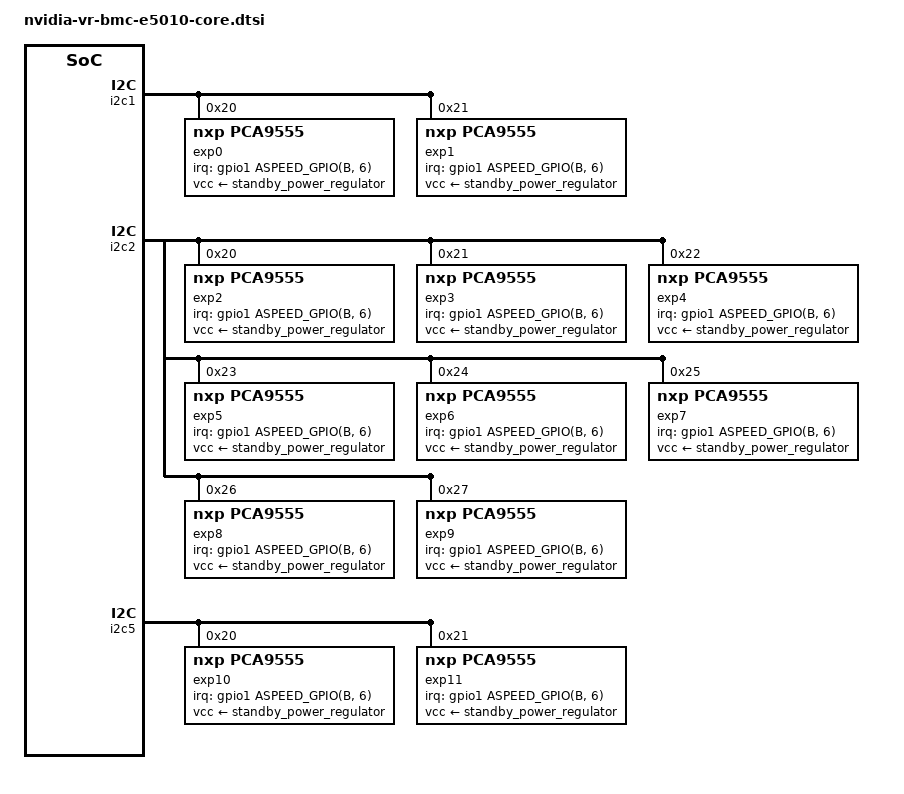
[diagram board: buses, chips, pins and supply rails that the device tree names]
// SPDX-License-Identifier: GPL-2.0+
/dts-v1/;

#include "aspeed-g6.dtsi"
#include <dt-bindings/gpio/aspeed-gpio.h>

&gpio0 {
    gpio-line-names =

    /* gpio-line-names are the combination of <signal>-<I/O> , "" is the placeholder for the unused pins*/

    /* 208 (26*8) 3.3V GPIOs */

    /*A0-A7*/
    "", "", "", "", "", "", "", "",

    /*B0-B7*/
    "", "", "", "", "", "", "", "",

    /*C0-C7*/
    "SGPIO_I2C_MUX_SEL-O",
    "", "", "", "", "", "", "",

    /*D0-D7*/
    "", "", "",
    "UART1_MUX_SEL-O",
    "",
    "FPGA_PEX_RST_L-O",
    "", "",

    /*E0-E7*/
    "RTL8221_PHY_RST_L-O",
    "RTL8211_PHY_INT_L-I",
    "",
    "UART3_MUX_SEL-O",
    "", "", "",
    "SGPIO_BMC_EN-O",

    /*F0-F7*/
    "", "", "", "", "", "", "", "",

    /*G0-G7*/
    "", "", "", "", "", "", "", "",

    /*H0-H7*/
    "", "", "", "", "", "", "", "",

    /*I0-I7*/
    "", "", "", "", "",
    "QSPI2_RST_L-O",
    "GLOBAL_WP_BMC-O",
    "BMC_DDR4_TEN-O",

    /*J0-J7*/
    "", "", "", "", "", "", "", "",

    /*K0-K7*/
    "", "", "", "", "", "", "", "",

    /*L0-L7*/
    "", "", "", "", "", "", "", "",

    /*M0-M7*/
    "PCIE_EP_RST_EN-O",
    "BMC_FRU_WP-O",
    "HMC_RESET_L-O",
    "STBY_POWER_EN-O",
    "STBY_POWER_PG-I",
    "PCIE_EP_RST_L-O",
    "", "",

    /*N0-N7*/
    "", "", "", "", "", "", "", "",

    /*O0-O7*/
    "", "", "", "", "", "", "", "",

    /*P0-P7*/
    "", "", "", "", "", "", "", "",

    /*Q0-Q7*/
    "", "", "", "", "", "", "", "",

    /*R0-R7*/
    "", "", "", "", "", "", "", "",

    /*S0-S7*/
    "", "", "", "", "", "", "", "",

    /*T0-T7*/
    "", "", "", "", "", "", "", "",

    /*U0-U7*/
    "", "", "", "", "", "", "", "",

    /*V0-V7*/
    "AP_EROT_REQ-O",
    "EROT_AP_GNT-I",
    "",
    "",
    "PCB_TEMP_ALERT-I",
    "", "", "",

    /*W0-W7*/
    "", "", "", "", "", "", "",
    "CPU_RST_L-I",

    /*X0-X7*/
    "", "",
    "TPM_MUX_SEL-O",
    "", "", "", "", "",

    /*Y0-Y7*/
    "", "", "",
    "EMMC_RST-O",
    "","", "", "",

    /*Z0-Z7*/
    "","", "", "", "", "", "", "";
};

&gpio1 {
    /* 36 1.8V GPIOs */
    gpio-line-names =
    /*A0-A7*/
    "", "", "", "", "", "", "", "",

    /*B0-B7*/
    "", "", "", "",
    "AP_EROT_REQ-O",
    "EROT_AP_GNT-I",
    "IO_EXPANDER_INT_L-I",
    "",

    /*C0-C7*/
    "", "", "", "", "", "", "", "",

    /*D0-D7*/
    "", "", "", "", "", "", "",
    "I2C_SSIF_ALERT_L-I",

    /*E0-E7*/
    "", "", "", "", "", "", "", "";
};

// I2C2 GPIO Expander
&i2c1 {
    // MGMT1 BOARD0, Expander @0x20
    exp0: pca9555@20 {
        compatible = "nxp,pca9555";
        reg = <0x20>;
        gpio-controller;
        #gpio-cells = <2>;

        #address-cells = <1>;
        #size-cells = <0>;
        interrupt-controller;
        #interrupt-cells = <2>;
        interrupt-parent = <&gpio1>;
        interrupts = <ASPEED_GPIO(B, 6) IRQ_TYPE_LEVEL_LOW>;
        vcc-supply = <&standby_power_regulator>;

        gpio-line-names =
            "B0_M1_MCU_RESET_L-O",
            "B0_M1_MCU_RECOVERY_L-O",
            "B0_M1_TPM_HDR_SPI_PRSNT_IOX_N-I",
            "B0_M1_U146_P0_3",
            "B0_M1_IOX_THERM_OVERT_L-I",
            "B0_M1_IOX_THERM_WARN_L-I",
            "B0_M1_HMC_IST_PRE_RST_L-O",
            "B0_M1_CPLD_READY-I",
            "B0_M1_MODULE_PWR_GOOD-I",
            "B0_M1_MCU_HMC_ALERT_L-I",
            "B0_M1_USB_HMC_HUB_RST_L-O",
            "B0_M1_HPM_MCU_OK-I",
            "B0_M1_CPU0_SHDN_OK_L-I",
            "B0_M1_IST_COMPLETE_L-I",
            "B0_M1_IST_SYS_RST_L-O",
            "B0_M1_PWR_BRAKE_STATUS_R_L-I";
    };

    // MGMT1 BOARD0, Expander @0x21
    exp1: pca9555@21 {
        compatible = "nxp,pca9555";
        reg = <0x21>;
        gpio-controller;
        #gpio-cells = <2>;

        #address-cells = <1>;
        #size-cells = <0>;
        interrupt-controller;
        #interrupt-cells = <2>;
        interrupt-parent = <&gpio1>;
        interrupts = <ASPEED_GPIO(B, 6) IRQ_TYPE_LEVEL_LOW>;
        vcc-supply = <&standby_power_regulator>;

        gpio-line-names =
            "B0_M1_CPU_FORCED_RECOVERY_L-B",
            "B0_M1_CPU_BOOT_DEV_SEL0-B",
            "B0_M1_CPU_BOOT_DEV_SEL1-B",
            "B0_M1_CPU_BOOT_DEV_SEL2-B",
            "B0_M1_U133_P0_4",
            "B0_M1_CPU_RECOVERY_TYPE0-B",
            "B0_M1_CPU_RECOVERY_TYPE1-B",
            "B0_M1_CPU_IST_BOOT-B",
            "B0_M1_CPU_BOOT_CHAIN0-B",
            "B0_M1_GP32_PACKAGE_R_ID0-B",
            "B0_M1_GP33_PACKAGE_R_ID1-B",
            "B0_M1_DIE_SEL0-B",
            "B0_M1_DIE_SEL1-B",
            "B0_M1_DIE_SEL2-B",
            "B0_M1_CPU_BOOT_COMPLETE-B",
            "B0_M1_NVJTAG_SEL_S-B";
    };
};


// I2C3 GPIO Expander
&i2c2 {
    // MGMT0 BOARD0, Expander @0x20
    exp2: pca9555@20 {
        compatible = "nxp,pca9555";
        reg = <0x20>;
        gpio-controller;
        #gpio-cells = <2>;

        #address-cells = <1>;
        #size-cells = <0>;
        interrupt-controller;
        #interrupt-cells = <2>;
        interrupt-parent = <&gpio1>;
        interrupts = <ASPEED_GPIO(B, 6) IRQ_TYPE_LEVEL_LOW>;
        vcc-supply = <&standby_power_regulator>;
        gpio-line-names =
            "B0_M0_I2C_MCIO_MUX_RESET_L-O",
            "B0_M0_HPM_MCU_OK-I",
            "B0_M0_SNN_RSVD_AIC_USB_EN-O",
            "B0_M0_C0_SOCAMM_DAC_I2C_SEL-O",
            "B0_M0_SNN_C1_SOCAMM_DAC_I2C_SEL-O",
            "B0_M0_C0_SOCAMM_I2C_SEL-O",
            "B0_M0_SNN_C1_SOCAMM_I2C_SEL-O",
            "B0_M0_EEPROM_POWER_DISABLE-O",
            "B0_M0_L0L1_RST_OUT_IOX_L-B",
            "B0_M0_L2_RST_OUT_IOX_L-B",
            "B0_M0_BRD_ID_0-I",
            "B0_M0_BRD_ID_1-I",
            "B0_M0_LEAK_DETECT_L-O",
            "B0_M0_BMC_SSIF_ALERT_L-I",
            "B0_M0_CPU_BOOT_COMPLETE_3V3-I",
            "B0_M0_BRD_ID_2-I";
    };

    // MGMT0 BOARD0, Expander @0x21
    exp3: pca9555@21 {
        compatible = "nxp,pca9555";
        reg = <0x21>;
        gpio-controller;
        #gpio-cells = <2>;

        #address-cells = <1>;
        #size-cells = <0>;
        interrupt-controller;
        #interrupt-cells = <2>;
        interrupt-parent = <&gpio1>;
        interrupts = <ASPEED_GPIO(B, 6) IRQ_TYPE_LEVEL_LOW>;
        vcc-supply = <&standby_power_regulator>;
        gpio-line-names =
            "B0_M0_BMC_SHDN_FORCE_L-O",
            "B0_M0_STBY_POWER_PG-I",
            "B0_M0_IOX_THERM_OVERT_L-I",
            "B0_M0_IOX_THERM_WARN_L-I",
            "B0_M0_GLOBAL_WP_IOX_MCU-O",
            "B0_M0_USB_HUB0_RST_L-O",
            "B0_M0_IOX_PRE_SYS_RST_L-O",
            "B0_M0_LEAK_DETECT_ALERT_L-I",
            "B0_M0_RUN_PWR_EN-O",
            "B0_M0_MODULE_PWR_GOOD-I",
            "B0_M0_MCU_CPU0_CHIPTHROT_L-O",
            "B0_M0_GP01_SHDN_REQ_L-O",
            "B0_M0_CPU0_SHDN_OK_L_3V3-I",
            "B0_M0_U153_P1_5-O",
            "B0_M0_PWR_BRAKE_IOX_L-O",
            "B0_M0_PWR_BRAKE_STATUS_U153_L-I";
    };

    // extra IOX for E5010
    exp4: pca9555@22 {
        compatible = "nxp,pca9555";
        reg = <0x22>;
        gpio-controller;
        #gpio-cells = <2>;

        #address-cells = <1>;
        #size-cells = <0>;
        interrupt-controller;
        #interrupt-cells = <2>;
        interrupt-parent = <&gpio1>;
        interrupts = <ASPEED_GPIO(B, 6) IRQ_TYPE_LEVEL_LOW>;
        vcc-supply = <&standby_power_regulator>;
        gpio-line-names =
            "B0_M0_UART0_MUX_SEL0-O",
            "B0_M0_UART0_MUX_SEL1-O",
            "B0_M0_UART1_MUX_SEL0-O",
            "B0_M0_UART1_MUX_SEL1-O",
            "B0_M0_QSPI_LB_EN-O",
            "B0_M0_QSPI_LB_MUX_SEL-O",
            "B0_M0_QSPI0_MUX_EN-O",
            "B0_M0_U25_P0_7",
            "B0_M0_I2C1_3_MUX_SEL-O",
            "B0_M0_I2C2_4_MUX_SEL-O",
            "B0_M0_IXC0_MUX_SEL0-O",
            "B0_M0_IXC0_MUX_SEL1-O",
            "B0_M0_I2C_PU_MUX1_SEL0-O",
            "B0_M0_I2C_PU_MUX1_SEL1-O",
            "B0_M0_I2C_PU_MUX2_SEL0-O",
            "B0_M0_I2C_PU_MUX2_SEL1-O";
    };

    exp5: pca9555@23 {
        compatible = "nxp,pca9555";
        reg = <0x23>;
        gpio-controller;
        #gpio-cells = <2>;

        #address-cells = <1>;
        #size-cells = <0>;
        interrupt-controller;
        #interrupt-cells = <2>;
        interrupt-parent = <&gpio1>;
        interrupts = <ASPEED_GPIO(B, 6) IRQ_TYPE_LEVEL_LOW>;
        vcc-supply = <&standby_power_regulator>;  
        gpio-line-names =
            "B0_M0_I2C1_MUX2_SEL0-O",
            "B0_M0_I2C1_MUX2_SEL1-O",
            "B0_M0_USB_MGMT0_MUX_SEL0-O",
            "B0_M0_MCU_CPU_CLOCK_EN-O",
            "B0_M0_QSPI1_MUX_EN-O",
            "B0_M0_QSPI1_MUX1_SEL-O",
            "B0_M0_USB2_P1_MUX_SEL-O",
            "B0_M0_USB_MGMT0_MUX_SEL1-O",
            "B0_M0_UPHY2_REFCLK_MUX_SEL-O",
            "B0_M0_UPHY0_REFCLK_MUX_SEL-O",
            "B0_M0_TPM_HDR_SPI_PRSNT_IOX_N-O",
            "B0_M0_UPHY3_REFCLK_MUX_SEL-O",
            "B0_M0_RTC_CLR_IOX_L-O",
            "B0_M0_HPM_SCM_INTRUSION_N-O",
            "B0_M0_SPI_HOST_TPM_RST_L-O",
            "B0_M0_MCIO012_VPP_MUX_SEL-O";
    };

    exp6: pca9555@24 {
        compatible = "nxp,pca9555";
        reg = <0x24>;
        gpio-controller;
        #gpio-cells = <2>;

        #address-cells = <1>;
        #size-cells = <0>;
        interrupt-controller;
        #interrupt-cells = <2>;
        interrupt-parent = <&gpio1>;
        interrupts = <ASPEED_GPIO(B, 6) IRQ_TYPE_LEVEL_LOW>;
        vcc-supply = <&standby_power_regulator>;
        gpio-line-names =
            "B0_M0_I3C0_MUX_SEL0-O",
            "B0_M0_I3C0_MUX_SEL1-O",
            "B0_M0_SNN_IOX2_P3",
            "B0_M0_I2C_PU_MUX3_SEL0-O",
            "B0_M0_I2C_PU_MUX3_SEL1-O",
            "B0_M0_I2C_PU_MUX4_SEL0-O",
            "B0_M0_I2C_PU_MUX4_SEL1-O",
            "B0_M0_PWR_I2C_MUX_SEL-O",
            "B0_M0_M1_I3C1_MUX_SEL0-O",
            "B0_M0_M1_I3C1_MUX_SEL1-O",
            "B0_M0_M2_I3C0_MUX_SEL0-O",
            "B0_M0_M2_I3C0_MUX_SEL1-O",
            "B0_M0_M3_I3C1_MUX_SEL0-O",
            "B0_M0_M3_I3C1_MUX_SEL1-O",
            "B0_M0_SNN_IOX2_P16",
            "B0_M0_U31_P1_7";
    };

    exp7: pca9555@25 {
        compatible = "nxp,pca9555";
        reg = <0x25>;
        gpio-controller;
        #gpio-cells = <2>;

        #address-cells = <1>;
        #size-cells = <0>;
        interrupt-controller;
        #interrupt-cells = <2>;
        interrupt-parent = <&gpio1>;
        interrupts = <ASPEED_GPIO(B, 6) IRQ_TYPE_LEVEL_LOW>;
        vcc-supply = <&standby_power_regulator>;
        gpio-line-names =
            "B0_M0_UPHY0_MCIO0_PERST1_IOX_L-O",
            "B0_M0_UPHY0_MCIO0_PERST_IOX_L-O",
            "B0_M0_UPHY0_MCIO0_PRSNT1_L-I",
            "B0_M0_UPHY0_MCIO1_PERST1_IOX_L-O",
            "B0_M0_UPHY0_MCIO1_PERST_IOX_L-O",
            "B0_M0_UPHY0_MCIO1_PRSNT1_L-I",
            "B0_M0_UPHY0_MCIO2_PERST1_IOX_L-O",
            "B0_M0_UPHY0_MCIO2_PERST_IOX_L-O",
            "B0_M0_UPHY0_MCIO2_PRSNT1_L-I",
            "B0_M0_UPHY0_MCIO3_PERST1_IOX_L-O",
            "B0_M0_UPHY0_MCIO3_PERST_IOX_L-O",
            "B0_M0_UPHY0_MCIO3_PRSNT1_L-I",
            "B0_M0_UPHY1_MCIO0_PERST_IOX_L-O",
            "B0_M0_UPHY1_MCIO0_PERST1_IOX_L-O",
            "B0_M0_UPHY1_MCIO0_PRSNT1_L-I",
            "B0_M0_UPHY1_MCIO1_PERST_IOX_L-O";
    };

    exp8: pca9555@26 {
        compatible = "nxp,pca9555";
        reg = <0x26>;
        gpio-controller;
        #gpio-cells = <2>;

        #address-cells = <1>;
        #size-cells = <0>;
        interrupt-controller;
        #interrupt-cells = <2>;
        interrupt-parent = <&gpio1>;
        interrupts = <ASPEED_GPIO(B, 6) IRQ_TYPE_LEVEL_LOW>;
        vcc-supply = <&standby_power_regulator>;
        gpio-line-names =
            "B0_M0_UPHY1_MCIO1_PERST1_IOX_L-O",
            "B0_M0_UPHY1_MCIO1_PRSNT1_L-I",
            "B0_M0_UPHY2_MCIO0_PERST1_IOX_L-O",
            "B0_M0_UPHY2_MCIO0_PERST_IOX_L-O",
            "B0_M0_UPHY2_MCIO0_PRSNT1_L-I",
            "B0_M0_UPHY2_MCIO1_PERST1_IOX_L-O",
            "B0_M0_UPHY2_MCIO1_PERST_IOX_L-O",
            "B0_M0_UPHY2_MCIO1_PRSNT1_L-I",
            "B0_M0_UPHY2_MCIO2_PERST1_IOX_L-O",
            "B0_M0_UPHY2_MCIO2_PERST_IOX_L-O",
            "B0_M0_UPHY2_MCIO2_PRSNT1_L-I",
            "B0_M0_UPHY2_MCIO3_PERST1_IOX_L-O",
            "B0_M0_UPHY2_MCIO3_PERST_IOX_L-O",
            "B0_M0_UPHY2_MCIO3_PRSNT1_L-I",
            "B0_M0_UPHY3_MCIO1_PERST1_IOX_L-O",
            "B0_M0_UPHY3_MCIO1_PERST_IOX_L-O";
    };

    exp9: pca9555@27 {
        compatible = "nxp,pca9555";
        reg = <0x27>;
        gpio-controller;
        #gpio-cells = <2>;

        #address-cells = <1>;
        #size-cells = <0>;
        interrupt-controller;
        #interrupt-cells = <2>;
        interrupt-parent = <&gpio1>;
        interrupts = <ASPEED_GPIO(B, 6) IRQ_TYPE_LEVEL_LOW>;
        vcc-supply = <&standby_power_regulator>;
        gpio-line-names =
            "B0_M0_UPHY3_MCIO1_PRSNT1_L-I",
            "B0_M0_UPHY3_CEM0_PRSNT1_IOX_L-I",
            "B0_M0_UPHY3_CEM2_PRSNT1_IOX_L-I",
            "B0_M0_UPHY3_CEM3_PRSNT1_IOX_L-I",
            "B0_M0_UPHY0_MCIO0_VPP_ALERT_L-I",
            "B0_M0_UPHY0_MCIO1_VPP_ALERT_L-I",
            "B0_M0_UPHY0_MCIO2_VPP_ALERT_L-I",
            "B0_M0_UPHY0_MCIO3_VPP_ALERT_L-I",
            "B0_M0_UPHY1_MCIO0_VPP_ALERT_L-I",
            "B0_M0_UPHY1_MCIO1_VPP_ALERT_L-I",
            "B0_M0_UPHY2_MCIO0_VPP_ALERT_L-I",
            "B0_M0_UPHY2_MCIO1_VPP_ALERT_L-I",
            "B0_M0_UPHY2_MCIO2_VPP_ALERT_L-I",
            "B0_M0_UPHY2_MCIO3_VPP_ALERT_L-I",
            "B0_M0_UPHY3_MCIO1_VPP_ALERT_L-I",
            "B0_M0_SNN_MCUIOX_P17";
    };
};

// I2C6 GPIO Expander
&i2c5 {
    // MGMT1 BOARD0, Expander @0x20
    exp10: pca9555@20 {
        compatible = "nxp,pca9555";
        reg = <0x20>;
        gpio-controller;
        #gpio-cells = <2>;

        #address-cells = <1>;
        #size-cells = <0>;
        interrupt-controller;
        #interrupt-cells = <2>;
        interrupt-parent = <&gpio1>;
        interrupts = <ASPEED_GPIO(B, 6) IRQ_TYPE_LEVEL_LOW>;
        vcc-supply = <&standby_power_regulator>;
        gpio-line-names =
            "HMC_RST_R_L-O",
            "HMC_RECOVERY_R-O",
            "HMC_SPI_MUX_R_SEL-O",
            "GLOBAL_WP-O",
            "HMC_READY-I",
            "HMC_PRSNT_R-I",
            "BMC_SELF_PWR_CYCLE-O",
            "EEDO_LED2-O",
            "PWR_LED_L-O",
            "PWR_BTN_L-I",
            "UID_LED_L-O",
            "UID_BTN_L-I",
            "FAULT_LED_L-O",
            "USB2_HUB_RST_L-O",
            "IOX_GPIO_P16_TP",
            "WARN_LED_L-O";
    };

    // MGMT1 BOARD0, Expander @0x21
    exp11: pca9555@21 {
        compatible = "nxp,pca9555";
        reg = <0x21>;
        gpio-controller;
        #gpio-cells = <2>;

        #address-cells = <1>;
        #size-cells = <0>;
        interrupt-controller;
        #interrupt-cells = <2>;
        interrupt-parent = <&gpio1>;
        interrupts = <ASPEED_GPIO(B, 6) IRQ_TYPE_LEVEL_LOW>;
        vcc-supply = <&standby_power_regulator>;
        gpio-line-names =
            "BMC_HMC_MUX_SEL-O",
            "BMC_TPM_MUX_SEL-O",
            "BMC_USB2_MUX_SEL-O",
            "HMC_PGOOD_3V3-I",
            "BF3_AOC_NCSI_PRSNT_L-I",
            "HDR_SPI_PRSNT_L-I",
            "SW_NRESET_R_L-O",
            "MUX_I2C_ESPI_SEL-O",
            "I2C_BUS_MUX_RESET_L-O",
            "USB_MUX_EN-O",
            "PDB_TRAY_RST-O",
            "USB_PWR_EN-O",
            "RTC_CLR_L-O",
            "I2C_RTC_ALERT_L-I",
            "I2C_PDB_ALERT_L-I",
            "BMC_MUX_PI3DP_SEL-O";
    };
};

// EMMC group that excludes WP pin
&pinctrl {
    pinctrl_emmcg5_default: emmcg5_default {
        function = "EMMC";
        groups = "EMMCG5";
    };
};

